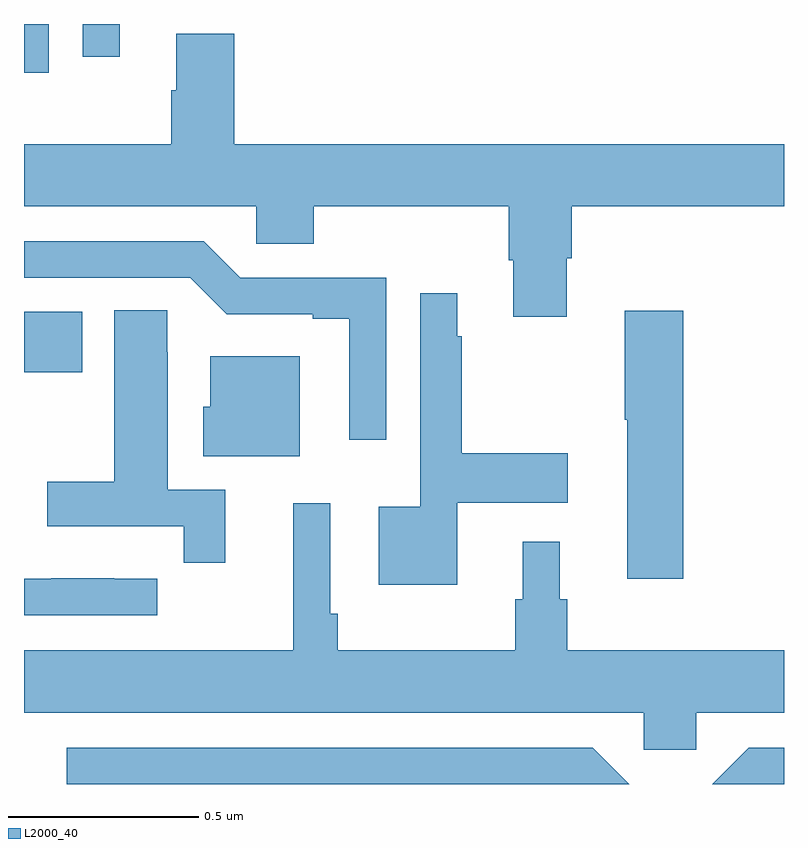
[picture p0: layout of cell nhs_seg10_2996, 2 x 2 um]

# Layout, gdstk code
import gdstk
lib = gdstk.Library(unit=1e-6, precision=1e-09)
def R(c, l, rs):  # rectangles x0, y0, x1, y1
    for r in rs: c.add(gdstk.rectangle(r[:2], r[2:], *l))
def P(c, l, *ps):  # polygons
    for p in ps: c.add(gdstk.Polygon(p, *l))
L2000_40 = (2000, 40)

nhs_seg10_2996 = lib.new_cell('nhs_seg10_2996')
R(nhs_seg10_2996, L2000_40, [(148,1262.584,148.153,1262.743), (148,1263.372,148.065,1263.5), (148.155,1263.414,148.252,1263.5)])
P(nhs_seg10_2996, L2000_40, [(149.428,1262.883),(149.441,1262.883),(149.441,1263.02),(150,1263.02),(150,1263.184),(148.553,1263.184),(148.553,1263.475),(148.4,1263.475),(148.4,1263.326),(148.388,1263.326),(148.388,1263.184),(148,1263.184),(148,1263.02),(148.611,1263.02),(148.611,1262.922),(148.763,1262.922),(148.763,1263.02),(149.276,1263.02),(149.276,1262.878),(149.288,1262.878),(149.288,1262.73),(149.428,1262.73)],
  [(148.953,1262.832),(148.569,1262.832),(148.473,1262.928),(148,1262.928),(148,1262.832),(148.437,1262.832),(148.533,1262.736),(148.76,1262.736),(148.76,1262.724),(148.856,1262.724),(148.856,1262.406),(148.953,1262.406)],
  [(149.14,1262.24),(149.431,1262.24),(149.431,1262.37),(149.152,1262.37),(149.152,1262.678),(149.14,1262.678),(149.14,1262.791),(149.043,1262.791),(149.043,1262.23),(148.934,1262.23),(148.934,1262.024),(149.14,1262.024)],
  [(148.529,1262.274),(148.378,1262.274),(148.378,1262.636),(148.377,1262.636),(148.377,1262.747),(148.238,1262.747),(148.238,1262.295),(148.061,1262.295),(148.061,1262.178),(148.42,1262.178),(148.42,1262.082),(148.529,1262.082)],
  [(149.735,1262.746),(149.581,1262.746),(149.581,1262.458),(149.588,1262.458),(149.588,1262.04),(149.735,1262.04)],
  [(148.726,1262.626),(148.49,1262.626),(148.49,1262.493),(148.472,1262.493),(148.472,1262.363),(148.726,1262.363)],
  [(149.769,1261.688),(150,1261.688),(150,1261.852),(149.429,1261.852),(149.429,1261.986),(149.41,1261.986),(149.41,1262.137),(149.312,1262.137),(149.312,1261.986),(149.293,1261.986),(149.293,1261.852),(148.826,1261.852),(148.826,1261.948),(148.806,1261.948),(148.806,1262.239),(148.709,1262.239),(148.709,1261.852),(148,1261.852),(148,1261.688),(149.631,1261.688),(149.631,1261.59),(149.769,1261.59)],
  [(148.351,1262.04),(148.238,1262.04),(148.238,1262.041),(148.072,1262.041),(148.072,1262.04),(148,1262.04),(148,1261.944),(148.351,1261.944)],
  [(150,1261.596),(149.907,1261.596),(149.811,1261.5),(150,1261.5)],
  [(148.112,1261.596),(148.112,1261.5),(149.593,1261.5),(149.497,1261.596)])

lib.write_gds('nhs_seg10_2996.gds')
